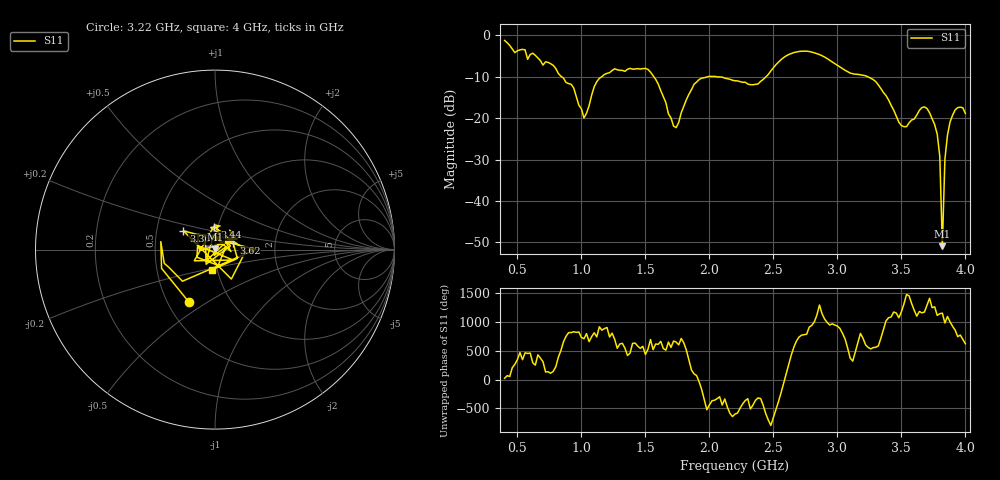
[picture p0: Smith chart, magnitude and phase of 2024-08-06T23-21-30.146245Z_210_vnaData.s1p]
!Created with skrf (http://scikit-rf.org).
# Hz S RI R 50.0
!freq ReS11 ImS11
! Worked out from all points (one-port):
!   181 points, 400 MHz to 4 GHz, reference 50 ohm
!   lowest |S11| = -50.9 dB at 3.82 GHz (marker M1), VSWR 1.01, Z = 50.1 + j0.271 ohm
!   |S11| at or under -10 dB: 1.567 GHz to 1.983 GHz (416.8 MHz wide, 23.5 % of centre); 2.06 GHz to 2.442 GHz (382 MHz wide, 17 % of centre); 3.239 GHz to end of sweep (the widest 3 of 4)
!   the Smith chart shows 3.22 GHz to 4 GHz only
!   S11 on the Smith chart (normalised r, x): 3.22 GHz: 0.64, -0.42; 3.36 GHz: 0.69, +0.15; 3.44 GHz: 0.96, +0.25; 3.62 GHz: 1.22, +0.09; 4 GHz: 0.94, -0.22
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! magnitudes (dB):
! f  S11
! 400 MHz  -1.2
! 860 MHz  -10.3
! 940 MHz  -12.7
! 1.02 GHz  -19.9
! 1.12 GHz  -11.2
! 1.3 GHz  -8.4
! 1.52 GHz  -8.2
! 1.72 GHz  -21.9
! 1.76 GHz  -21.0
! 1.92 GHz  -10.6
! 2.2 GHz  -10.9
! 2.38 GHz  -11.7
! 2.66 GHz  -4.1
! 3.1 GHz  -9.1
! 3.22 GHz  -9.7
! 3.36 GHz  -13.8
! 3.44 GHz  -18.0
! 3.5 GHz  -21.8
! 3.56 GHz  -21.1
! 3.62 GHz  -19.2
! 3.7 GHz  -17.6
! 3.78 GHz  -23.9
! 3.8 GHz  -29.2
! 3.82 GHz  -50.9
! 3.84 GHz  -29.9
! 3.86 GHz  -24.1
! 3.92 GHz  -18.0
! 4 GHz  -18.9
